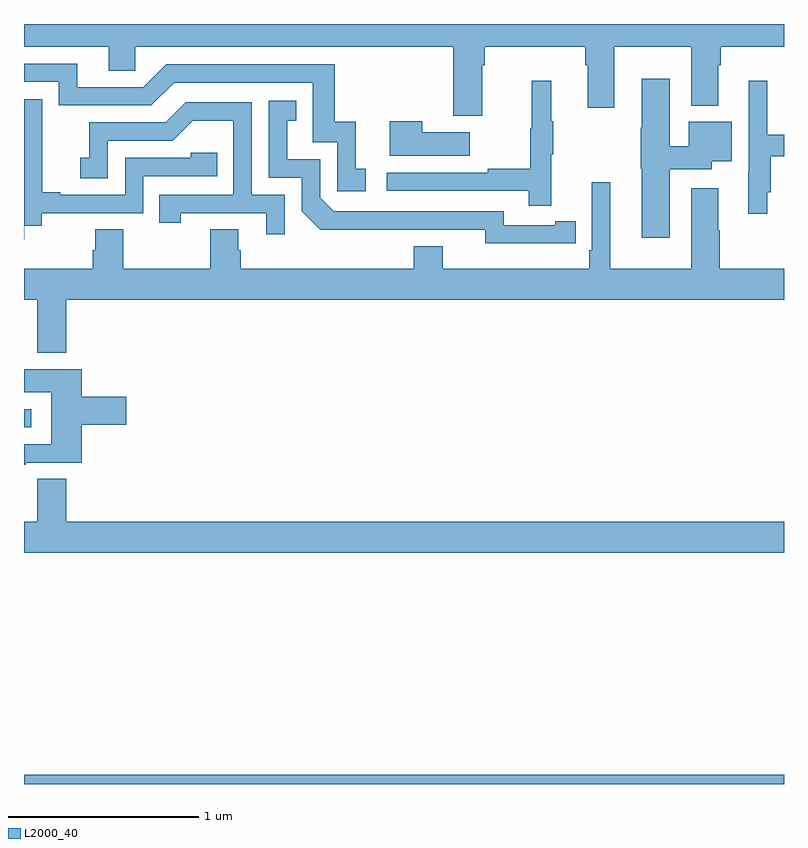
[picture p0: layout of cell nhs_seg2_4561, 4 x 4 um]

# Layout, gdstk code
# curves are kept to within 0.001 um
import gdstk
lib = gdstk.Library(unit=1e-6, precision=1e-09)
def R(c, l, rs):  # rectangles x0, y0, x1, y1
    for r in rs: c.add(gdstk.rectangle(r[:2], r[2:], *l))
def P(c, l, *ps):  # polygons
    for p in ps: c.add(gdstk.Polygon(p, *l))
L2000_40 = (2000, 40)

nhs_seg2_4561 = lib.new_cell('nhs_seg2_4561')
R(nhs_seg2_4561, L2000_40, [(359,599.8,363,599.848), (359,601.677,359.038,601.773)])
P(nhs_seg2_4561, L2000_40, [(361.411,603.584),(361.424,603.584),(361.424,603.68),(361.955,603.68),(361.955,603.584),(361.967,603.584),(361.967,603.36),(362.107,603.36),(362.107,603.68),(362.513,603.68),(362.513,603.371),(362.653,603.371),(362.653,603.584),(362.666,603.584),(362.666,603.68),(363,603.68),(363,603.8),(359,603.8),(359,603.68),(359.447,603.68),(359.447,603.553),(359.586,603.553),(359.586,603.68),(361.259,603.68),(361.259,603.318),(361.411,603.318)],
  [(360.799,603.039),(360.746,603.039),(360.746,603.286),(360.635,603.286),(360.635,603.588),(359.748,603.588),(359.628,603.468),(359.281,603.468),(359.281,603.591),(359,603.591),(359,603.495),(359.184,603.495),(359.184,603.372),(359.67,603.372),(359.79,603.492),(360.519,603.492),(360.519,603.177),(360.648,603.177),(360.648,602.919),(360.799,602.919)],
  [(362.398,603.035),(362.62,603.035),(362.62,603.077),(362.725,603.077),(362.725,603.286),(362.498,603.286),(362.498,603.157),(362.398,603.157),(362.398,603.511),(362.252,603.511),(362.252,603.253),(362.245,603.253),(362.245,603.039),(362.252,603.039),(362.252,602.676),(362.398,602.676)],
  [(361.775,603.115),(361.786,603.115),(361.786,603.289),(361.775,603.289),(361.775,603.502),(361.672,603.502),(361.672,603.252),(361.665,603.252),(361.665,603.038),(361.441,603.038),(361.441,603.018),(360.909,603.018),(360.909,602.922),(361.657,602.922),(361.657,602.844),(361.775,602.844)],
  [(362.911,602.914),(362.93,602.914),(362.93,603.104),(363,603.104),(363,603.217),(362.911,603.217),(362.911,603.502),(362.814,603.502),(362.814,603.023),(362.813,603.023),(362.813,602.802),(362.911,602.802)],
  [(359.002,602.737),(359.094,602.737),(359.094,602.805),(359.628,602.805),(359.628,603),(360.017,603),(360.017,603.123),(359.877,603.123),(359.877,603.096),(359.532,603.096),(359.532,602.901),(359.191,602.901),(359.191,602.914),(359.096,602.914),(359.096,603.197),(359.097,603.197),(359.097,603.403),(359,603.403),(359,602.667),(359.002,602.667)],
  [(361.796,602.646),(361.904,602.646),(361.904,602.762),(361.796,602.762),(361.796,602.742),(361.524,602.742),(361.524,602.814),(360.63,602.814),(360.558,602.886),(360.558,603.087),(360.385,603.087),(360.385,603.291),(360.434,603.291),(360.434,603.397),(360.288,603.397),(360.288,602.991),(360.462,602.991),(360.462,602.814),(360.56,602.717),(361.428,602.718),(361.428,602.645)],
  [(360.372,602.901),(360.198,602.901),(360.198,603.387),(359.852,603.387),(359.747,603.282),(359.344,603.282),(359.344,603.097),(359.295,603.097),(359.295,602.988),(359.442,602.988),(359.442,603.186),(359.784,603.186),(359.888,603.29),(360.102,603.29),(360.102,602.901),(359.713,602.901),(359.713,602.754),(359.824,602.754),(359.824,602.805),(360.275,602.805),(360.275,602.694),(360.372,602.694)],
  [(361.345,603.229),(361.097,603.229),(361.097,603.289),(360.926,603.289),(360.926,603.107),(361.345,603.107)],
  [(359.222,602.348),(363,602.348),(363,602.512),(362.661,602.512),(362.661,602.714),(362.653,602.714),(362.653,602.935),(362.513,602.935),(362.513,602.512),(362.086,602.512),(362.086,602.968),(361.989,602.968),(361.989,602.608),(361.976,602.608),(361.976,602.512),(361.204,602.512),(361.204,602.629),(361.052,602.629),(361.052,602.512),(360.14,602.512),(360.14,602.61),(360.127,602.61),(360.127,602.72),(359.98,602.72),(359.98,602.512),(359.523,602.512),(359.523,602.72),(359.375,602.72),(359.375,602.61),(359.363,602.61),(359.363,602.512),(359,602.512),(359,602.348),(359.069,602.348),(359.069,602.069),(359.222,602.069)],
  [(359.008,601.491),(359.303,601.491),(359.303,601.691),(359.539,601.691),(359.539,601.838),(359.303,601.838),(359.303,601.984),(359,601.984),(359,601.862),(359.144,601.862),(359.144,601.587),(359,601.587),(359,601.479),(359.008,601.479)],
  [(363,601.18),(359.222,601.18),(359.222,601.406),(359.069,601.406),(359.069,601.18),(359,601.18),(359,601.016),(363,601.016)])

lib.write_gds('nhs_seg2_4561.gds')
